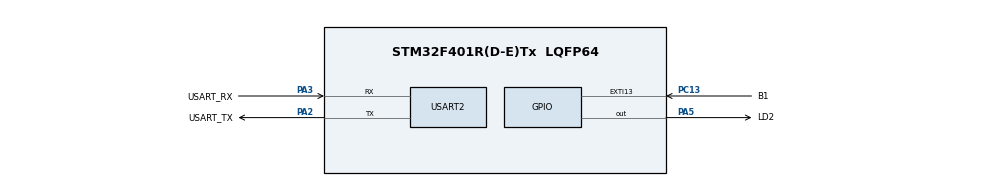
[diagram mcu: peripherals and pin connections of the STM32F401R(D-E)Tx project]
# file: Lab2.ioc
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Mcu.Family=STM32F4
Mcu.Name=STM32F401R(D-E)Tx
Mcu.Package=LQFP64
NVIC.PriorityGroup=NVIC_PRIORITYGROUP_4
NVIC.TIM1_TRG_COM_TIM11_IRQn=true\:0\:0\:false\:false\:true\:true\:true\:true
NVIC.USART2_IRQn=true\:0\:0\:false\:false\:true\:true\:true\:true
PA13.GPIO_Label=TMS
PA13.Mode=Trace_Asynchronous_SW
PA13.Signal=SYS_JTMS-SWDIO
PA14.GPIO_Label=TCK
PA14.Mode=Trace_Asynchronous_SW
PA14.Signal=SYS_JTCK-SWCLK
PA2.GPIO_Label=USART_TX
PA2.GPIO_Mode=GPIO_MODE_AF_PP
PA2.GPIO_PuPd=GPIO_NOPULL
PA2.GPIO_Speed=GPIO_SPEED_FREQ_LOW
PA2.Mode=Asynchronous
PA2.Signal=USART2_TX
PA3.GPIO_Label=USART_RX
PA3.GPIO_Mode=GPIO_MODE_AF_PP
PA3.GPIO_PuPd=GPIO_NOPULL
PA3.GPIO_Speed=GPIO_SPEED_FREQ_LOW
PA3.Mode=Asynchronous
PA3.Signal=USART2_RX
PA5.GPIO_Label=LD2
PA5.GPIO_Mode=GPIO_MODE_OUTPUT_PP
PA5.GPIO_PuPd=GPIO_NOPULL
PA5.GPIO_Speed=GPIO_SPEED_FREQ_LOW
PA5.Signal=GPIO_Output
PB3.GPIO_Label=SWO
PB3.Mode=Trace_Asynchronous_SW
PB3.Signal=SYS_JTDO-SWO
PC13-ANTI_TAMP.GPIO_Label=B1
PC13-ANTI_TAMP.GPIO_ModeDefaultEXTI=GPIO_MODE_IT_FALLING
PC13-ANTI_TAMP.GPIO_PuPd=GPIO_NOPULL
PC13-ANTI_TAMP.Signal=GPXTI13
PC14-OSC32_IN.Mode=LSE-External-Oscillator
PC14-OSC32_IN.Signal=RCC_OSC32_IN
PC15-OSC32_OUT.Mode=LSE-External-Oscillator
PC15-OSC32_OUT.Signal=RCC_OSC32_OUT
PH0\ -\ OSC_IN.Mode=HSE-External-Clock-Source
PH0\ -\ OSC_IN.Signal=RCC_OSC_IN
PH1\ -\ OSC_OUT.Mode=HSE-External-Clock-Source
PH1\ -\ OSC_OUT.Signal=RCC_OSC_OUT
ProjectManager.HeapSize=0x200
ProjectManager.StackSize=0x400
ProjectManager.TargetToolchain=STM32CubeIDE
RCC.48MHZClocksFreq_Value=48000000
RCC.AHBFreq_Value=84000000
RCC.APB1CLKDivider=RCC_HCLK_DIV2
RCC.APB1Freq_Value=42000000
RCC.APB1TimFreq_Value=84000000
RCC.APB2Freq_Value=84000000
RCC.APB2TimFreq_Value=84000000
RCC.CortexFreq_Value=84000000
RCC.HCLKFreq_Value=84000000
RCC.HSE_VALUE=8000000
RCC.HSI_VALUE=16000000
RCC.PLLN=336
RCC.PLLP=RCC_PLLP_DIV4
RCC.PLLQ=7
RCC.SYSCLKFreq_VALUE=84000000
RCC.SYSCLKSource=RCC_SYSCLKSOURCE_PLLCLK
RCC.VCOOutputFreq_Value=336000000
TIM11.Channel=TIM_CHANNEL_1
USART2.VirtualMode=VM_ASYNC
VP_TIM11_VS_ClockSourceINT.Mode=Enable_Timer
VP_TIM11_VS_no_output1.Mode=Output Compare1 No Output
board=NUCLEO-F401RE

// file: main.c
/* USER CODE BEGIN Header */
/**
 ******************************************************************************
 * @file           : main.c
 * @brief          : Main program body
 ******************************************************************************
 * @attention
 *
 * Copyright (c) 2024 STMicroelectronics.
 * All rights reserved.
 *
 * This software is licensed under terms that can be found in the LICENSE file
 * in the root directory of this software component.
 * If no LICENSE file comes with this software, it is provided AS-IS.
 *
 ******************************************************************************
 */
/* USER CODE END Header */
#include "main.h"
#include "tim.h"
#include "usart.h"
#include "gpio.h"

/* USER CODE BEGIN Includes */
#include <string.h>
#include <stdio.h>
#include <stdarg.h>
#include <stdlib.h>
/* USER CODE END Includes */

/* USER CODE BEGIN PTD */
// PRZEPISZ!
typedef enum
{
	Waiting,
	Command,
	Argument,
	number,
	End
} FrameDetection;

/* USER CODE END PTD */

/* USER CODE BEGIN PV */
// --- ISTNIEJĄCE ZMIENNE (ZOSTAW JE) ---
uint8_t znak;
uint16_t komunikat, dlugosc;

#define BUF_LEN 512

uint8_t BUF_RX[BUF_LEN];
uint8_t BUF_TX[BUF_LEN];

uint8_t empty_RX=0;
uint8_t busy_RX=0;
uint8_t empty_TX=0;
uint8_t busy_TX=0;

volatile int ld2STATE = 0;
volatile uint16_t slow = 1;
volatile uint32_t mainLoopDelay = 0;

uint8_t tempINDX = 0;
char NumArr[128];
char cmd[128];
char CMDarg[128];
float nr = 0;

/* USER CODE END PV */

void SystemClock_Config(void);
/* USER CODE BEGIN PFP */
void USART_fill_buf();
void USART_send(uint8_t message[]);
void USART_send_char();
int16_t USART_getChar();
void FrameRd();

void ExecuteCommand();
/* USER CODE END PFP */

int main(void)
{

	/* MCU Configuration--------------------------------------------------------*/

	/* Reset of all peripherals, Initializes the Flash interface and the Systick. */
	HAL_Init();

	/* Configure the system clock */
	SystemClock_Config();

	/* Initialize all configured peripherals */
	MX_GPIO_Init();
	MX_USART2_UART_Init();
	MX_TIM11_Init();
	/* USER CODE BEGIN 2 */
	// PRZEPISZ!
	HAL_UART_Receive_IT(&huart2, &znak, 1);
	// HAL_UART_Receive_IT(&huart2, &BUF_RX[0], 1);
	// PRZEPISZ!
	USART_send("\n\n\r");
	USART_send("Witaj, jestem Nucleo STM32!!!");

	HAL_TIM_Base_Start_IT(&htim11);
	Miganie(5000000);

	/* USER CODE END 2 */

	/* Infinite loop */
	/* USER CODE BEGIN WHILE */
	while (1)
	{

		if (ld2STATE == 2) {
			if (slow > 0) {
				HAL_GPIO_TogglePin(LD2_GPIO_Port, LD2_Pin);

				uint32_t half_period = (1000 / slow) / 2;

				HAL_Delay(half_period);
			}
		}

		if (mainLoopDelay > 0) {
			HAL_Delay(mainLoopDelay);
		}

		if (ld2STATE != 2 && mainLoopDelay == 0) {
			HAL_Delay(10);
		}

		/* USER CODE END WHILE */

	}
}

	/**
	 * @brief System Clock Configuration
	 * @retval None
	 */
	void SystemClock_Config(void)
	{
		RCC_OscInitTypeDef RCC_OscInitStruct = {0};
		RCC_ClkInitTypeDef RCC_ClkInitStruct = {0};

		/** Configure the main internal regulator output voltage
		 */
		__HAL_RCC_PWR_CLK_ENABLE();
		__HAL_PWR_VOLTAGESCALING_CONFIG(PWR_REGULATOR_VOLTAGE_SCALE2);

		/** Initializes the RCC Oscillators according to the specified parameters
		 * in the RCC_OscInitTypeDef structure.
		 */
		RCC_OscInitStruct.OscillatorType = RCC_OSCILLATORTYPE_HSI;
		RCC_OscInitStruct.HSIState = RCC_HSI_ON;
		RCC_OscInitStruct.HSICalibrationValue = RCC_HSICALIBRATION_DEFAULT;
		RCC_OscInitStruct.PLL.PLLState = RCC_PLL_ON;
		RCC_OscInitStruct.PLL.PLLSource = RCC_PLLSOURCE_HSI;
		RCC_OscInitStruct.PLL.PLLM = 16;
		RCC_OscInitStruct.PLL.PLLN = 336;
		RCC_OscInitStruct.PLL.PLLP = RCC_PLLP_DIV4;
		RCC_OscInitStruct.PLL.PLLQ = 7;
		if (HAL_RCC_OscConfig(&RCC_OscInitStruct) != HAL_OK)
		{
			Error_Handler();
		}

		/** Initializes the CPU, AHB and APB buses clocks
		 */
		RCC_ClkInitStruct.ClockType = RCC_CLOCKTYPE_HCLK|RCC_CLOCKTYPE_SYSCLK
				|RCC_CLOCKTYPE_PCLK1|RCC_CLOCKTYPE_PCLK2;
		RCC_ClkInitStruct.SYSCLKSource = RCC_SYSCLKSOURCE_PLLCLK;
		RCC_ClkInitStruct.AHBCLKDivider = RCC_SYSCLK_DIV1;
		RCC_ClkInitStruct.APB1CLKDivider = RCC_HCLK_DIV2;
		RCC_ClkInitStruct.APB2CLKDivider = RCC_HCLK_DIV1;

		if (HAL_RCC_ClockConfig(&RCC_ClkInitStruct, FLASH_LATENCY_2) != HAL_OK)
		{
			Error_Handler();
		}
	}

	/* USER CODE BEGIN 4 */

	void HAL_TIM_PeriodElapsedCallback(TIM_HandleTypeDef *htim){
		HAL_GPIO_TogglePin(LD2_GPIO_Port,LD2_Pin);
	}

	// --- Funkcja parsująca dane z bufora kołowego ---
	void FrameRd() {
		static FrameDetection detection = Waiting;

		// Pobieramy znak (jeśli jest w buforze)
		int16_t ch_int = USART_getChar();

		while(ch_int != -1) {
			char c = (char)ch_int;

			// 1. GŁÓWNY PUNKT WYKONANIA - ŚREDNIK
			if (c == ';') {
				// Wykonaj komendę TYLKO JEŚLI byliśmy w trakcie jej pobierania (stan End lub po liczbie)
				if (detection == End || detection == number || detection == Argument) {
					ExecuteCommand();
				}

				// Reset maszyny stanów po średniku
				detection = Waiting;
				memset(cmd, 0, sizeof(cmd));
				memset(CMDarg, 0, sizeof(CMDarg));
				memset(NumArr, 0, sizeof(NumArr));
				tempINDX = 0;

				// Pobierz kolejny znak i kontynuuj
				ch_int = USART_getChar();
				continue;
			}

			// Ignorowanie spacji i znaków nowej linii (ENTER)
			if (c == ' ' || c == '\r' || c == '\n') {
				ch_int = USART_getChar();
				continue;
			}

			// Maszyna stanów
			switch (detection) {
			case Waiting:

				if ((c >= 'A' && c <= 'Z') || (c >= 'a' && c <= 'z')) {
					detection = Command;
					tempINDX = 0;
					cmd[tempINDX++] = c;
				}
				break;

			case Command:
				if (c == '[') {
					cmd[tempINDX] = '\0';
					detection = Argument;
					tempINDX = 0;
				} else if (tempINDX < 100) {
					cmd[tempINDX++] = c;
				}
				break;

			case Argument:
				if (c == ']') {
					CMDarg[tempINDX] = '\0';
					detection = End;
				} else if (c == ',') {
					CMDarg[tempINDX] = '\0';
					detection = number;
					tempINDX = 0;
				} else if (tempINDX < 100) {
					CMDarg[tempINDX++] = c;
				}
				break;

			case number:
				if (c == ']') {
					NumArr[tempINDX] = '\0';
					detection = End;
				} else if (tempINDX < 100) {
					NumArr[tempINDX++] = c;
				}
				break;

			case End:

				break;

			default:
				detection = Waiting;
				break;
			}

			// Pobranie następnego znaku z bufora
			ch_int = USART_getChar();
		}
	}

	void Miganie(int x){
		__HAL_TIM_SET_COUNTER(&htim11,0);
		__HAL_TIM_SET_AUTORELOAD(&htim11,x);
		__HAL_TIM_SET_PRESCALER(&htim11,1999);

		while(__HAL_TIM_GET_COUNTER(&htim11) < x);
		HAL_GPIO_TogglePin(LD2_GPIO_Port, LD2_Pin);
	}

	void ExecuteCommand() {
		char txBuf[64]; // Bufor pomocniczy

		if (strcmp(cmd, "LED") == 0) {
			if (strcmp(CMDarg, "ON") == 0) {
				ld2STATE = 1;
				HAL_GPIO_WritePin(LD2_GPIO_Port, LD2_Pin, GPIO_PIN_SET);
				USART_send((uint8_t*)"OK: LED ON\r\n");
			}
			else if (strcmp(CMDarg, "OFF") == 0) {
				ld2STATE = 0;
				HAL_GPIO_WritePin(LD2_GPIO_Port, LD2_Pin, GPIO_PIN_RESET);
				USART_send((uint8_t*)"OK: LED OFF\r\n");
			}
			else if (strcmp(CMDarg, "BLINK") == 0) {
				ld2STATE = 2;

				slow = atoi(NumArr);
				if(slow == 0) slow = 1;
				USART_send((uint8_t*)"OK: LED BLINK\r\n");
			}
			else if (strcmp(CMDarg, "DELAY") == 0) {
				mainLoopDelay = atoi(NumArr);
				USART_send((uint8_t*)"OK: LED Delay Set\r\n");
			} else{
				USART_send((uint8_t*)"blad: zly argument LED\r\n");
			}
		}
	}

	void HAL_UART_TxCpltCallback(UART_HandleTypeDef *huart){
		if(busy_TX != empty_TX){
			uint8_t tmp = BUF_TX[busy_TX];
			busy_TX++;
			if(busy_TX >= sizeof(BUF_TX)) busy_TX = 0;
			HAL_UART_Transmit_IT(&huart2, &tmp, 1);
		}
	}

	void HAL_UART_RxCpltCallback(UART_HandleTypeDef *huart){
		empty_RX++;
		if(empty_RX >= sizeof(BUF_RX))	empty_RX = 0;

		if(busy_RX == empty_RX) {
			busy_RX++;
			if(busy_RX >= sizeof(BUF_RX)) busy_RX = 0;
		}

		HAL_UART_Receive_IT(&huart2, &BUF_RX[empty_RX], 1);

		FrameRd();
	}

	void USART_fill_buf(){
		uint16_t idx = empty_TX;
		for(int i = 0; i <= BUF_LEN; i++ ) {
			BUF_TX[idx] = 0x11;
			idx++;
			if(idx >= sizeof(BUF_TX)) idx = 0;
		}
	}

	void USART_send(uint8_t message[]){
		uint16_t i, idx = empty_TX;
		for(i=0; message[i] != '\0'; i++){
			BUF_TX[idx] = message[i];
			idx++;
			if(idx >= sizeof(BUF_TX)) idx = 0;
		}

		__disable_irq();
		if (busy_TX == empty_TX) {
			empty_TX = idx;
			uint8_t tmp = BUF_TX[busy_TX];
			busy_TX++;
			if(busy_TX >= sizeof(BUF_TX)) busy_TX = 0;
			HAL_UART_Transmit_IT(&huart2, &tmp, 1);
		} else {
			empty_TX = idx;
		}
		__enable_irq();
	}

	void USART_send_char(){
		uint16_t idx = empty_TX;
		__disable_irq();
		if (busy_TX == empty_TX) {
			empty_TX = idx;
			uint8_t tmp = BUF_TX[busy_TX];
			busy_TX++;
			if(busy_TX >= sizeof(BUF_TX)) busy_TX = 0;
			HAL_UART_Transmit_IT(&huart2, &tmp, 1);
		} else {
			empty_TX = idx;
		}
		__enable_irq();
	}

	int16_t USART_getChar() {
		int16_t charTMP;
		if (empty_RX != busy_RX) {
			charTMP = BUF_RX[busy_RX];
			busy_RX++;
			if (busy_RX >= BUF_LEN) busy_RX = 0;
			return charTMP;
		}
		else return -1;
	}

	void blink1(uint16_t x){
		HAL_GPIO_TogglePin(LD2_GPIO_Port, LD2_Pin);
		HAL_Delay(x);
	}

	void blink2(){
		HAL_GPIO_TogglePin(LD2_GPIO_Port, LD2_Pin);
	}

	/* USER CODE END 4 */

	/**
	 * @brief  This function is executed in case of error occurrence.
	 * @retval None
	 */
	void Error_Handler(void)
	{
		__disable_irq();
		while (1)
		{
		}
	}
